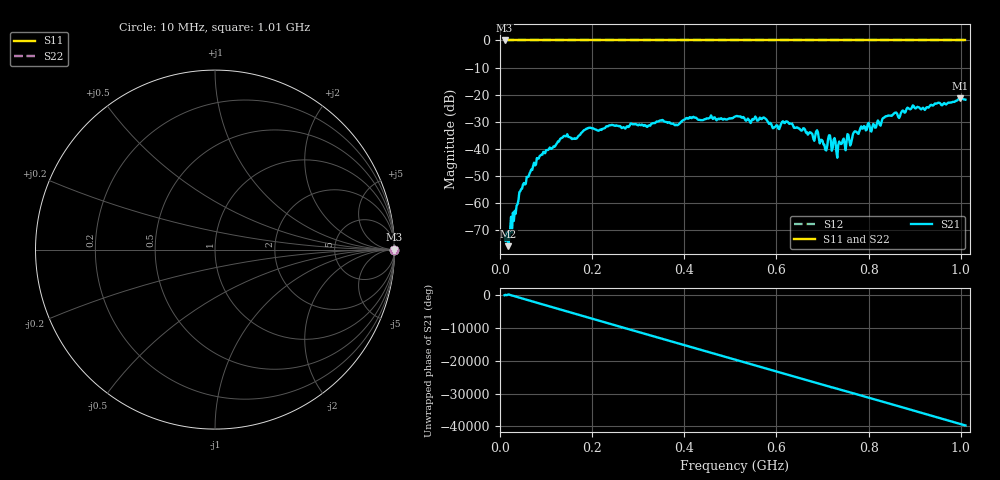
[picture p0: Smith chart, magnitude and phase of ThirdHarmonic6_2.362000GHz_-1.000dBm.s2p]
! 8/17/2025 3:38:15 AM
! C:\ANRITSUVNA\TEMP\TEMP.S2P
! CHANNEL.1
! TR.MEASUREMENT
! RAW.DATA
! RF.CORRECTION.OFF
! AVERAGING.OFF
! IF.BANDWIDTH: 5KHZ
! SWEEPTYPE:  FREQ.SWEEP(Linear)
! Reference Plane Port Info
! PORT:  PORT1  PORT2
! DISTANCE:  0  m  0  m
! TIME:  0  s  0  s
! PHASE.OFFSET:  0  deg.  0  deg.
! LOSS:  0  dB  0  dB
! REF.LOSS:  0  dB  0  dB
! REF.FREQ:  0  Hz  0  Hz
! Power Info
! POWER:  -20  dBm  -20  dBm
! EFF.POWER:  -20  dBm  -20  dBm
! SOURCE.ATTEN:  0  dB  0  dB
! TEST.ATTEN:  0  dB  0  dB
# GHZ S RI R 50.0
! FREQ.GHZ  S11RE  S11IM  S21RE  S21IM  S12RE  S12IM  S22RE  S22IM
!; PortSelection: Port_12
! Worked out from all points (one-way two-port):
!   501 points, 10 MHz to 1.01 GHz, reference 50 ohm
!   highest |S21| = -21.29 dB at 998 MHz (marker M1); lowest = -75.9 dB at 18 MHz (marker M2)
!   lowest |S11| = 0.0 dB at 10 MHz (marker M3)
!   |S11| at or under -10 dB: nowhere
!   |S22| runs from 0.0 to 0.0 dB; largest |S21 - S12| = 1.1
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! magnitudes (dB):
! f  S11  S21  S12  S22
! 10 MHz  0.0  -71.8  0.0  0.0
! 18 MHz  0.0  -75.9  0.0  0.0
! 46 MHz  0.0  -54.8  0.0  0.0
! 84 MHz  0.0  -43.5  0.0  0.0
! 136 MHz  0.0  -35.7  0.0  0.0
! 178 MHz  0.0  -33.9  0.0  0.0
! 344 MHz  0.0  -29.9  0.0  0.0
! 382 MHz  0.0  -31.1  0.0  0.0
! 416 MHz  0.0  -28.7  0.0  0.0
! 510 MHz  0.0  -28.1  0.0  0.0
! 574 MHz  0.0  -28.6  0.0  0.0
! 594 MHz  0.0  -32.3  0.0  0.0
! 624 MHz  0.0  -29.9  0.0  0.0
! 678 MHz  0.0  -34.6  0.0  0.0
! 688 MHz  0.0  -33.1  0.0  0.0
! 706 MHz  0.0  -40.3  0.0  0.0
! 714 MHz  0.0  -35.0  0.0  0.0
! 734 MHz  0.0  -38.6  0.0  0.0
! 786 MHz  0.0  -32.5  0.0  0.0
! 844 MHz  0.0  -27.7  0.0  0.0
! 998 MHz  0.0  -21.3  0.0  0.0
! 1.01 GHz  0.0  -21.9  0.0  0.0
